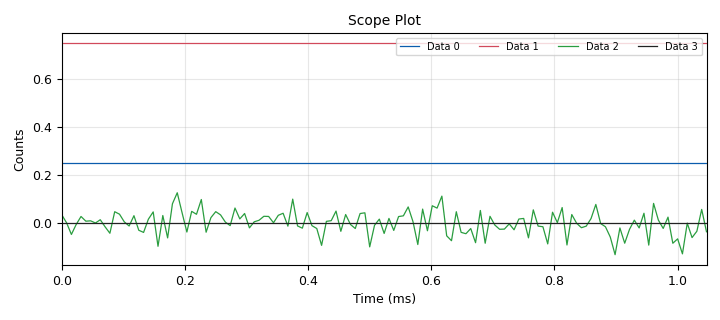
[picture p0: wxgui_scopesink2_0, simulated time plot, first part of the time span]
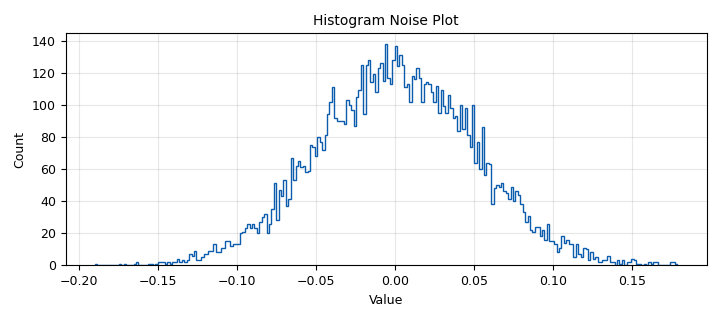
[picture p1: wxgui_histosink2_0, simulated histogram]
<?xml version='1.0' encoding='utf-8'?>
<?grc format='1' created='3.7.6'?>
<flow_graph>
<block>
<key>options</key>
<param><key>id</key><value>top_block</value></param>
<param><key>generate_options</key><value>wx_gui</value></param>
<param><key>category</key><value>Custom</value></param>
</block>
<block>
<key>variable</key>
<param><key>id</key><value>samp_rate</value></param>
<param><key>value</key><value>128000</value></param>
</block>
<block>
<key>variable_slider</key>
<param><key>id</key><value>level</value></param>
<param><key>label</key><value>Level</value></param>
<param><key>value</key><value>0</value></param>
<param><key>min</key><value>-1</value></param>
<param><key>max</key><value>2</value></param>
<param><key>num_steps</key><value>100</value></param>
<param><key>style</key><value>wx.SL_HORIZONTAL</value></param>
<param><key>converver</key><value>float_converter</value></param>
</block>
<block>
<key>variable_slider</key>
<param><key>id</key><value>noise</value></param>
<param><key>label</key><value>Noise</value></param>
<param><key>value</key><value>0.050</value></param>
<param><key>min</key><value>0</value></param>
<param><key>max</key><value>1</value></param>
<param><key>num_steps</key><value>100</value></param>
<param><key>style</key><value>wx.SL_HORIZONTAL</value></param>
<param><key>converver</key><value>float_converter</value></param>
</block>
<block>
<key>variable_slider</key>
<param><key>id</key><value>hi</value></param>
<param><key>label</key><value>High</value></param>
<param><key>value</key><value>0.750</value></param>
<param><key>min</key><value>0</value></param>
<param><key>max</key><value>1</value></param>
<param><key>num_steps</key><value>100</value></param>
<param><key>style</key><value>wx.SL_HORIZONTAL</value></param>
<param><key>converver</key><value>float_converter</value></param>
</block>
<block>
<key>variable_slider</key>
<param><key>id</key><value>lo</value></param>
<param><key>label</key><value>Low</value></param>
<param><key>value</key><value>0.250</value></param>
<param><key>min</key><value>0</value></param>
<param><key>max</key><value>1</value></param>
<param><key>num_steps</key><value>100</value></param>
<param><key>style</key><value>wx.SL_HORIZONTAL</value></param>
<param><key>converver</key><value>float_converter</value></param>
</block>
<block>
<key>analog_noise_source_x</key>
<param><key>id</key><value>analog_noise_source_x_0</value></param>
<param><key>type</key><value>float</value></param>
<param><key>noise_type</key><value>analog.GR_GAUSSIAN</value></param>
<param><key>amp</key><value>noise</value></param>
<param><key>seed</key><value>42</value></param>
</block>
<block>
<key>blocks_throttle</key>
<param><key>id</key><value>blocks_throttle_0_0</value></param>
<param><key>type</key><value>float</value></param>
<param><key>samples_per_second</key><value>samp_rate</value></param>
</block>
<block>
<key>blocks_add_xx</key>
<param><key>id</key><value>blocks_add_xx_0</value></param>
<param><key>type</key><value>float</value></param>
</block>
<block>
<key>blocks_throttle</key>
<param><key>id</key><value>blocks_throttle_0</value></param>
<param><key>type</key><value>float</value></param>
<param><key>samples_per_second</key><value>samp_rate</value></param>
</block>
<block>
<key>analog_sig_source_x</key>
<param><key>id</key><value>analog_sig_source_x_0</value></param>
<param><key>type</key><value>float</value></param>
<param><key>samp_rate</key><value>samp_rate</value></param>
<param><key>waveform</key><value>analog.GR_CONST_WAVE</value></param>
<param><key>freq</key><value>0</value></param>
<param><key>amp</key><value>level</value></param>
<param><key>offset</key><value>0</value></param>
</block>
<block>
<key>analog_sig_source_x</key>
<param><key>id</key><value>analog_sig_source_x_0_0_0</value></param>
<param><key>type</key><value>float</value></param>
<param><key>samp_rate</key><value>samp_rate</value></param>
<param><key>waveform</key><value>analog.GR_CONST_WAVE</value></param>
<param><key>freq</key><value>0</value></param>
<param><key>amp</key><value>hi</value></param>
<param><key>offset</key><value>0</value></param>
</block>
<block>
<key>blocks_throttle</key>
<param><key>id</key><value>blocks_throttle_0_1_0</value></param>
<param><key>type</key><value>float</value></param>
<param><key>samples_per_second</key><value>samp_rate</value></param>
</block>
<block>
<key>analog_sig_source_x</key>
<param><key>id</key><value>analog_sig_source_x_0_0</value></param>
<param><key>type</key><value>float</value></param>
<param><key>samp_rate</key><value>samp_rate</value></param>
<param><key>waveform</key><value>analog.GR_CONST_WAVE</value></param>
<param><key>freq</key><value>0</value></param>
<param><key>amp</key><value>lo</value></param>
<param><key>offset</key><value>0</value></param>
</block>
<block>
<key>blocks_throttle</key>
<param><key>id</key><value>blocks_throttle_0_1</value></param>
<param><key>type</key><value>float</value></param>
<param><key>samples_per_second</key><value>samp_rate</value></param>
</block>
<block>
<key>blocks_threshold_ff</key>
<param><key>id</key><value>blocks_threshold_ff_0</value></param>
<param><key>low</key><value>lo</value></param>
<param><key>high</key><value>hi</value></param>
<param><key>init</key><value>0</value></param>
</block>
<block>
<key>wxgui_scopesink2</key>
<param><key>id</key><value>wxgui_scopesink2_0</value></param>
<param><key>type</key><value>float</value></param>
<param><key>title</key><value>Scope Plot</value></param>
<param><key>samp_rate</key><value>samp_rate</value></param>
<param><key>v_scale</key><value>lo</value></param>
<param><key>v_offset</key><value>hi</value></param>
<param><key>t_scale</key><value>0</value></param>
<param><key>ac_couple</key><value>False</value></param>
<param><key>xy_mode</key><value>False</value></param>
<param><key>num_inputs</key><value>4</value></param>
<param><key>win_size</key><value>510, 320</value></param>
<param><key>grid_pos</key><value>0,0,1,1</value></param>
<param><key>notebook</key><value>notebook_0,0</value></param>
<param><key>trig_mode</key><value>wxgui.TRIG_MODE_AUTO</value></param>
<param><key>y_axis_label</key><value>Counts</value></param>
</block>
<block>
<key>wxgui_histosink2</key>
<param><key>id</key><value>wxgui_histosink2_0</value></param>
<param><key>title</key><value>Histogram Noise Plot</value></param>
<param><key>num_bins</key><value>241</value></param>
<param><key>frame_size</key><value>10000</value></param>
<param><key>win_size</key><value>440, 320</value></param>
<param><key>grid_pos</key><value>0,1,1,1</value></param>
<param><key>notebook</key><value>notebook_0,1</value></param>
</block>
<block>
<key>notebook</key>
<param><key>id</key><value>notebook_0</value></param>
<param><key>style</key><value>wx.NB_TOP</value></param>
<param><key>labels</key><value>['Scope Sink', 'Histo Sink']</value></param>
<param><key>grid_pos</key><value>1,1,1,1</value></param>
</block>
<connection><source_block_id>analog_noise_source_x_0</source_block_id><sink_block_id>blocks_throttle_0_0</sink_block_id><source_key>0</source_key><sink_key>0</sink_key></connection>
<connection><source_block_id>blocks_throttle_0</source_block_id><sink_block_id>blocks_add_xx_0</sink_block_id><source_key>0</source_key><sink_key>0</sink_key></connection>
<connection><source_block_id>blocks_throttle_0_0</source_block_id><sink_block_id>blocks_add_xx_0</sink_block_id><source_key>0</source_key><sink_key>1</sink_key></connection>
<connection><source_block_id>blocks_add_xx_0</source_block_id><sink_block_id>blocks_threshold_ff_0</sink_block_id><source_key>0</source_key><sink_key>0</sink_key></connection>
<connection><source_block_id>analog_sig_source_x_0</source_block_id><sink_block_id>blocks_throttle_0</sink_block_id><source_key>0</source_key><sink_key>0</sink_key></connection>
<connection><source_block_id>analog_sig_source_x_0_0_0</source_block_id><sink_block_id>blocks_throttle_0_1_0</sink_block_id><source_key>0</source_key><sink_key>0</sink_key></connection>
<connection><source_block_id>analog_sig_source_x_0_0</source_block_id><sink_block_id>blocks_throttle_0_1</sink_block_id><source_key>0</source_key><sink_key>0</sink_key></connection>
<connection><source_block_id>blocks_throttle_0_1</source_block_id><sink_block_id>wxgui_scopesink2_0</sink_block_id><source_key>0</source_key><sink_key>0</sink_key></connection>
<connection><source_block_id>blocks_throttle_0_1_0</source_block_id><sink_block_id>wxgui_scopesink2_0</sink_block_id><source_key>0</source_key><sink_key>1</sink_key></connection>
<connection><source_block_id>blocks_threshold_ff_0</source_block_id><sink_block_id>wxgui_scopesink2_0</sink_block_id><source_key>0</source_key><sink_key>3</sink_key></connection>
<connection><source_block_id>blocks_add_xx_0</source_block_id><sink_block_id>wxgui_scopesink2_0</sink_block_id><source_key>0</source_key><sink_key>2</sink_key></connection>
<connection><source_block_id>analog_noise_source_x_0</source_block_id><sink_block_id>wxgui_histosink2_0</sink_block_id><source_key>0</source_key><sink_key>0</sink_key></connection>
</flow_graph>
